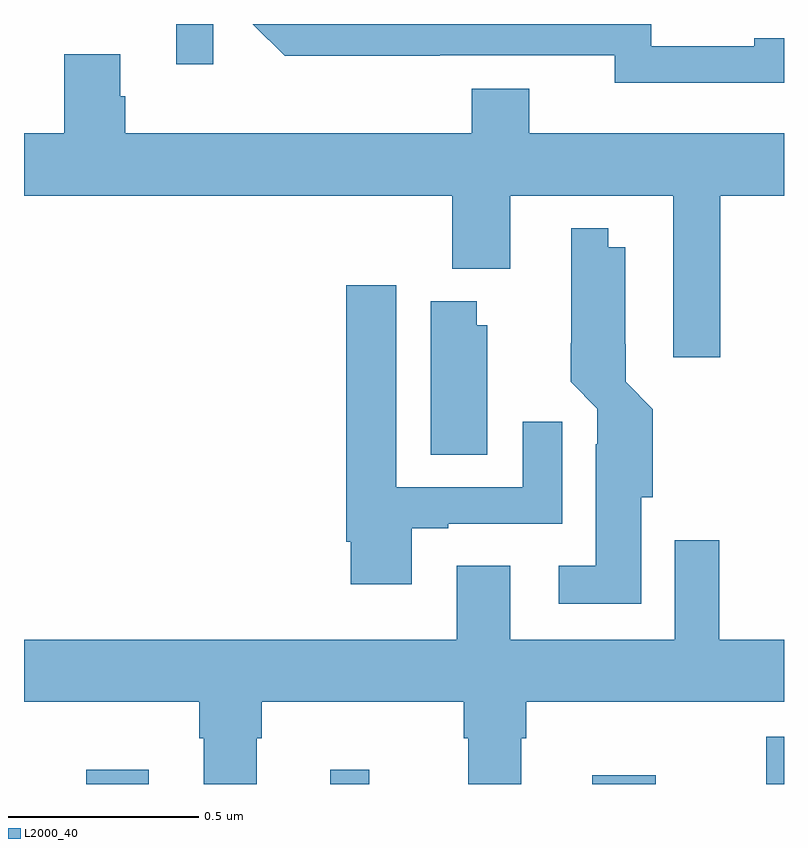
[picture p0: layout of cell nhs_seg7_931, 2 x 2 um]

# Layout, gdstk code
import gdstk
lib = gdstk.Library(unit=1e-6, precision=1e-09)
def R(c, l, rs):  # rectangles x0, y0, x1, y1
    for r in rs: c.add(gdstk.rectangle(r[:2], r[2:], *l))
def P(c, l, *ps):  # polygons
    for p in ps: c.add(gdstk.Polygon(p, *l))
L2000_40 = (2000, 40)

nhs_seg7_931 = lib.new_cell('nhs_seg7_931')
R(nhs_seg7_931, L2000_40, [(123.164,1067,123.328,1067.038), (123.806,1067,123.908,1067.038), (124.496,1067,124.662,1067.023), (124.953,1067,125,1067.124), (123.401,1068.894,123.498,1069)])
P(nhs_seg7_931, L2000_40, [(124.922,1068.846),(125,1068.846),(125,1068.962),(124.922,1068.962),(124.922,1068.942),(124.65,1068.942),(124.65,1069),(123.602,1069),(123.686,1068.917),(124.094,1068.917),(124.094,1068.918),(124.554,1068.918),(124.554,1068.845),(124.922,1068.845)],
  [(124.832,1068.548),(125,1068.548),(125,1068.712),(124.33,1068.712),(124.33,1068.829),(124.178,1068.829),(124.178,1068.712),(123.266,1068.712),(123.266,1068.81),(123.253,1068.81),(123.253,1068.92),(123.106,1068.92),(123.106,1068.712),(123,1068.712),(123,1068.548),(124.127,1068.548),(124.127,1068.356),(124.279,1068.356),(124.279,1068.548),(124.709,1068.548),(124.709,1068.123),(124.832,1068.123)],
  [(124.624,1067.754),(124.655,1067.754),(124.655,1067.986),(124.583,1068.058),(124.583,1068.157),(124.582,1068.157),(124.582,1068.412),(124.537,1068.412),(124.537,1068.463),(124.44,1068.463),(124.44,1068.16),(124.439,1068.16),(124.439,1068.058),(124.509,1067.988),(124.509,1067.894),(124.505,1067.894),(124.505,1067.575),(124.407,1067.575),(124.407,1067.474),(124.624,1067.474)],
  [(124.021,1067.673),(124.117,1067.673),(124.117,1067.685),(124.417,1067.685),(124.417,1067.953),(124.313,1067.953),(124.313,1067.781),(123.979,1067.781),(123.979,1068.313),(123.848,1068.313),(123.848,1067.638),(123.86,1067.638),(123.86,1067.526),(124.021,1067.526)],
  [(124.219,1068.207),(124.192,1068.207),(124.192,1068.271),(124.07,1068.271),(124.07,1067.866),(124.219,1067.866)],
  [(123.613,1067.12),(123.626,1067.12),(123.626,1067.216),(124.157,1067.216),(124.157,1067.12),(124.169,1067.12),(124.169,1067),(124.309,1067),(124.309,1067.12),(124.322,1067.12),(124.322,1067.216),(125,1067.216),(125,1067.38),(124.829,1067.38),(124.829,1067.641),(124.713,1067.641),(124.713,1067.38),(124.279,1067.38),(124.279,1067.575),(124.139,1067.575),(124.139,1067.38),(123,1067.38),(123,1067.216),(123.461,1067.216),(123.461,1067.12),(123.473,1067.12),(123.473,1067),(123.613,1067)])

lib.write_gds('nhs_seg7_931.gds')
